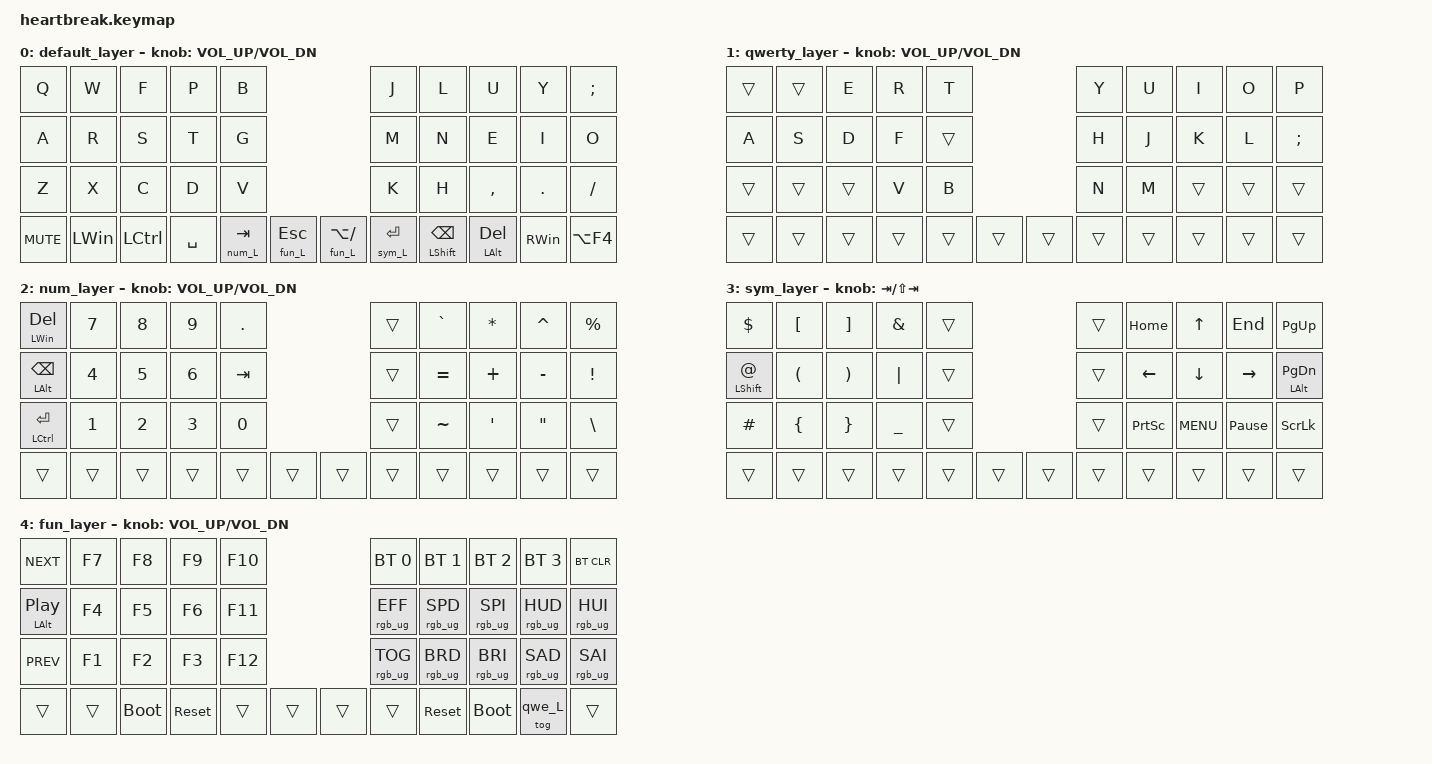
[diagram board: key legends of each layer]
// Copyright (c) 2022 The ZMK Contributors
// SPDX-License-Identifier: MIT

#include <behaviors.dtsi>
#include <dt-bindings/zmk/keys.h>
#include <dt-bindings/zmk/rgb.h>
#include <dt-bindings/zmk/bt.h>

#define def_L 0
#define qwe_L 1
#define num_L 2
#define sym_L 3
#define fun_L 4

/ {
	keymap {
		compatible = "zmk,keymap";

		default_layer {
		bindings = <
	&kp Q			&kp W		&kp F		&kp P		&kp B														&kp J			&kp L			&kp U			&kp Y			&kp SEMI
	&kp A			&kp R		&kp S		&kp T		&kp G														&kp M			&kp N			&kp E			&kp I			&kp O
	&kp Z			&kp X		&kp C		&kp D		&kp V														&kp K			&kp H			&kp COMMA		&kp DOT			&kp FSLH
	&kp C_MUTE		&kp LWIN	&kp LCTRL	&kp SPACE	&lt num_L TAB	&lt fun_L ESC			&lt fun_L LA(FSLH)	&lt sym_L RET	&mt LSHIFT BSPC	&mt LALT DEL	&kp RWIN		&kp LA(F4)
			>;
    		sensor-bindings = <&inc_dec_kp C_VOL_UP C_VOL_DN>;
			// sensor-bindings = <&inc_dec_kp C_VOL_UP C_VOL_DN &inc_dec_kp TAB LS(TAB)>;
		};

		qwerty_layer {
			bindings = <
	&trans			&trans		&kp E		&kp R		&kp T														&kp Y			&kp U			&kp I			&kp O			&kp P
	&kp A			&kp S		&kp D		&kp F		&trans														&kp H			&kp J			&kp K			&kp L			&kp SEMI
	&trans			&trans		&trans		&kp V		&kp B														&kp N			&kp M			&trans			&trans			&trans
	&trans			&trans		&trans		&trans		&trans			&trans					&trans				&trans			&trans			&trans			&trans			&trans
			>;
    		sensor-bindings = <&inc_dec_kp C_VOL_UP C_VOL_DN>;
			// sensor-bindings = <&inc_dec_kp C_VOL_UP C_VOL_DN &inc_dec_kp TAB LS(TAB)>;
		};

		num_layer {
			bindings = <
	&mt LWIN DEL	&kp N7		&kp N8		&kp N9		&kp DOT														&trans			&kp GRAVE		&kp STAR		&kp CARET		&kp PRCNT
	&mt LALT BSPC	&kp N4		&kp N5		&kp N6		&kp TAB														&trans			&kp EQUAL		&kp PLUS		&kp MINUS		&kp EXCL
	&mt LCTRL RET	&kp N1		&kp N2		&kp N3		&kp N0														&trans			&kp TILDE		&kp SQT			&kp DQT			&kp BSLH
	&trans			&trans		&trans		&trans		&trans			&trans					&trans				&trans			&trans			&trans			&trans			&trans
			>;
    		sensor-bindings = <&inc_dec_kp C_VOL_UP C_VOL_DN>;
			// sensor-bindings = <&inc_dec_kp C_VOL_UP C_VOL_DN &inc_dec_kp TAB LS(TAB)>;
		};

		sym_layer {
			bindings = <
	&kp DLLR		&kp LBKT	&kp RBKT	&kp AMPS	&trans														&trans			&kp HOME		&kp UP			&kp END			&kp PG_UP
	&mt LSHIFT AT	&kp LPAR	&kp RPAR	&kp PIPE	&trans														&trans			&kp LEFT		&kp DOWN		&kp RIGHT		&mt LALT PG_DN
	&kp HASH		&kp LBRC	&kp RBRC	&kp UNDER	&trans														&trans			&kp PSCRN		&kp K_MENU		&kp PAUSE_BREAK	&kp SLCK
	&trans			&trans		&trans		&trans		&trans			&trans					&trans				&trans			&trans			&trans			&trans			&trans
			>;
    		sensor-bindings = <&inc_dec_kp TAB LS(TAB)>;
			// sensor-bindings = <&inc_dec_kp TAB LS(TAB) &inc_dec_kp TAB LS(TAB)>;
		};

		fun_layer {
			bindings = <
	&kp C_NEXT		&kp F7		&kp F8		&kp F9		&kp F10														&bt BT_SEL 0	&bt BT_SEL 1	&bt BT_SEL 2	&bt BT_SEL 3	&bt BT_CLR
	&mt LALT C_PP	&kp F4		&kp F5		&kp F6		&kp F11														&rgb_ug RGB_EFF	&rgb_ug RGB_SPD &rgb_ug RGB_SPI	&rgb_ug RGB_HUD	&rgb_ug RGB_HUI
	&kp C_PREV		&kp F1		&kp F2		&kp F3		&kp F12														&rgb_ug RGB_TOG	&rgb_ug RGB_BRD	&rgb_ug RGB_BRI	&rgb_ug RGB_SAD	&rgb_ug RGB_SAI
	&trans			&trans    	&bootloader	&sys_reset	&trans			&trans					&trans	 			&trans			&sys_reset		&bootloader		&tog qwe_L		&trans
			>;
    		sensor-bindings = <&inc_dec_kp C_VOL_UP C_VOL_DN>;
			// sensor-bindings = <&inc_dec_kp C_VOL_UP C_VOL_DN &inc_dec_kp TAB LS(TAB)>;
		};	
	};
};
